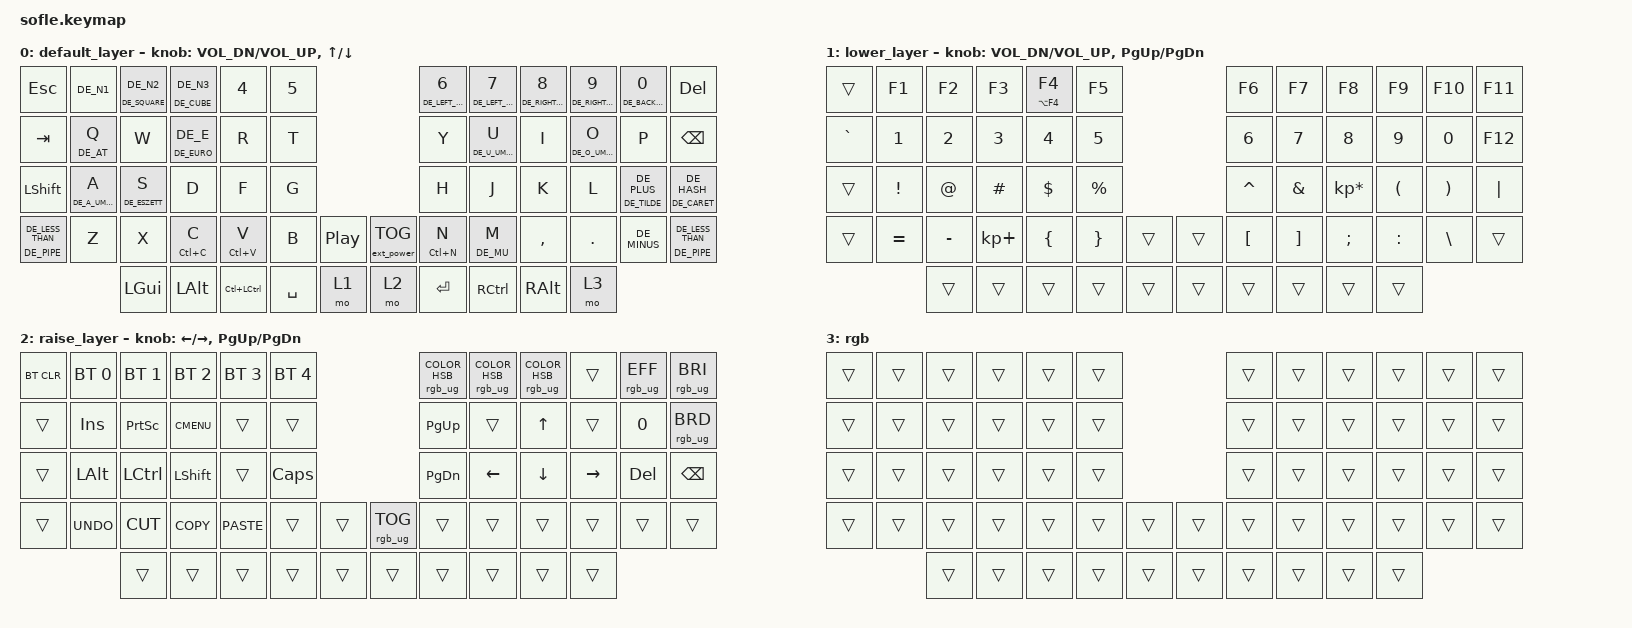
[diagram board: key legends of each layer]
/*
 * Copyright (c) 2020 The ZMK Contributors
 *
 * SPDX-License-Identifier: MIT
 */
/*
 * Temporarily here because nice nano v2 spi is not defined on ZMK Yet
 * Source: https://github.com/zmkfirmware/zmk/blob/main/app/boards/shields/reviung41/boards/nice_nano.overlay
 * GitHub Issue: https://github.com/zmkfirmware/zmk/issues/885
 */

#include <dt-bindings/led/led.h>
#include <behaviors.dtsi>
#include <dt-bindings/zmk/bt.h>
#include <dt-bindings/zmk/ext_power.h>
#include <dt-bindings/zmk/keys.h>
#include <dt-bindings/zmk/rgb.h>
#include "keys_de.h"

&pinctrl {
    spi3_default: spi3_default {
        group1 { psels = <NRF_PSEL(SPIM_MOSI, 0, 6)>; };
    };

    spi3_sleep: spi3_sleep {
        group1 {
            psels = <NRF_PSEL(SPIM_MOSI, 0, 6)>;
            low-power-enable;
        };
    };
};

&spi3 {
    compatible = "nordic,nrf-spim";
    status = "okay";
    pinctrl-0 = <&spi3_default>;
    pinctrl-1 = <&spi3_sleep>;
    pinctrl-names = "default", "sleep";

    led_strip: ws2812@0 {
        compatible = "worldsemi,ws2812-spi";
        label = "WS2812";

        /* SPI */

        reg = <0>; /* ignored, but necessary for SPI bindings */
        spi-max-frequency = <4000000>;

        /* WS2812 */

        chain-length = <30>;
        spi-one-frame = <0x70>;
        spi-zero-frame = <0x40>;
        color-mapping = <LED_COLOR_ID_GREEN LED_COLOR_ID_RED LED_COLOR_ID_BLUE>;
    };
};

/ {
    chosen { zmk,underglow = &led_strip; };
};

/* END temporary RGB support section */

/ {
    behaviors {
        longPress: longPress {
            compatible = "zmk,behavior-hold-tap";
            label = "LONGPRESS";
            bindings = <&kp>, <&kp>;

            #binding-cells = <2>;
            tapping-term-ms = <350>;
            flavor = "tap-preferred";
        };
    };

    keymap {
        compatible = "zmk,keymap";

        default_layer {
            // ------------------------------------------------------------------------------------------------------------------
            // |  `    |  1  |  2  |  3   |  4   |  5   |                         |  6   |  7    |  8    |  9   |   0   |       |
            // |  ESC  |  Q  |  W  |  E   |  R   |  T   |                         |  Y   |  U    |  I    |  O   |   P   | BKSPC |
            // |  TAB  |  A  |  S  |  D   |  F   |  G   |                         |  H   |  J    |  K    |  L   |   ;   |   '   |
            // | SHIFT |  Z  |  X  |  C   |  V   |  B   |  MUTE  |        | ExtPw |  N   |  M    |  ,    |  .   |   /   | SHIFT |
            //               | GUI | ALT  | CTRL | LOWER|  ENTER |        | SPACE | RAISE| CTRL  | ALT   | GUI  |

            bindings = <
&kp ESC                          &kp DE_N1                 &longPress DE_SQUARE DE_N2  &longPress DE_CUBE DE_N3  &kp N4              &kp N5                                            &longPress DE_LEFT_BRACE N6  &longPress DE_LEFT_BRACKET N7  &longPress DE_RIGHT_BRACKET N8  &longPress DE_RIGHT_BRACE N9  &longPress DE_BACKSLASH N0   &kp DEL
&kp TAB                          &longPress DE_AT Q        &kp W                       &longPress DE_EURO DE_E   &kp R               &kp T                                             &kp Y                        &longPress DE_U_UMLAUT U       &kp I                           &longPress DE_O_UMLAUT O      &kp P                        &kp BSPC
&kp LSHIFT                       &longPress DE_A_UMLAUT A  &longPress DE_ESZETT S      &kp D                     &kp F               &kp G                                             &kp H                        &kp J                          &kp K                           &kp L                         &longPress DE_TILDE DE_PLUS  &longPress DE_CARET DE_HASH
&longPress DE_PIPE DE_LESS_THAN  &kp Z                     &kp X                       &longPress LC(C) C        &longPress LC(V) V  &kp B      &kp C_PLAY_PAUSE    &ext_power EP_TOG  &longPress LC(N) N           &longPress DE_MU M             &kp COMMA                       &kp DOT                       &kp DE_MINUS                 &longPress DE_PIPE DE_LESS_THAN
                                                           &kp LGUI                    &kp LALT                  &kp LC(LCTRL)       &kp SPACE  &mo 1               &mo 2              &kp ENTER                    &kp RCTRL                      &kp RALT                        &mo 3
            >;

            sensor-bindings =
                <&inc_dec_kp C_VOL_DN C_VOL_UP>,
                <&inc_dec_kp UP_ARROW DOWN>;
        };

        lower_layer {
            // TODO: Some binds are waiting for shifted keycode support.
            // ------------------------------------------------------------------------------------------------------------
            // |       |  F1 |  F2 |  F3  |  F4  |  F5  |                   |  F6  |  F7   |  F8   |  F9  |  F10  |  F11  |
            // | `     |   1 |   2 |   3  |   4  |   5  |                   |   6  |   7   |   8   |   9  |    0  |  F12  |
            // |       |  !  |  @  |  #   |  $   |  %   |                   |  ^   |  &    |  *    |  (   |   )   |   |   |
            // |       |  =  |  -  |  +   |  {   |  }   |        |  |       |  [   |  ]    |  ;    |  :   |   \   |       |
            //               |     |      |      |      |        |  |       |      |       |       |      |

            bindings = <
&trans     &kp F1     &kp F2     &kp F3       &longPress LA(F4) F4  &kp F5                       &kp F6     &kp F7    &kp F8           &kp F9     &kp F10   &kp F11
&kp GRAVE  &kp N1     &kp N2     &kp N3       &kp N4                &kp N5                       &kp N6     &kp N7    &kp N8           &kp N9     &kp N0    &kp F12
&trans     &kp EXCL   &kp AT     &kp HASH     &kp DLLR              &kp PRCNT                    &kp CARET  &kp AMPS  &kp KP_MULTIPLY  &kp LPAR   &kp RPAR  &kp PIPE
&trans     &kp EQUAL  &kp MINUS  &kp KP_PLUS  &kp LBRC              &kp RBRC   &trans    &trans  &kp LBKT   &kp RBKT  &kp SEMI         &kp COLON  &kp BSLH  &trans
                      &trans     &trans       &trans                &trans     &trans    &trans  &trans     &trans    &trans           &trans
            >;

            sensor-bindings =
                <&inc_dec_kp C_VOL_DN C_VOLUME_UP>,
                <&inc_dec_kp PG_UP PG_DN>;
        };

        raise_layer {
            // ------------------------------------------------------------------------------------------------------------
            // |BTCLR| BT1  | BT2  |  BT3  |  BT4  |  BT5 |                 |      |      |       |      |       |       |
            // |     | INS  | PSCR | GUI   |       |      |                 | PGUP |      |   ^   |      |       |       |
            // |     | ALT  | CTRL | SHIFT |       | CAPS |                 | PGDN |   <- |   v   |  ->  |  DEL  | BKSPC |
            // |     | UNDO | CUT  | COPY  | PASTE |      |      |   | RGB  |      |      |       |      |       |       |
            //              |      |       |       |      |      |   |      |      |      |       |      |

            bindings = <
&bt BT_CLR  &bt BT_SEL 0  &bt BT_SEL 1  &bt BT_SEL 2  &bt BT_SEL 3  &bt BT_SEL 4                             &rgb_ug RGB_COLOR_HSB(278,100,50)  &rgb_ug RGB_COLOR_HSB(170,100,50)  &rgb_ug RGB_COLOR_HSB(0,0,100)  &trans     &rgb_ug RGB_EFF  &rgb_ug RGB_BRI
&trans      &kp INS       &kp PSCRN     &kp K_CMENU   &trans        &trans                                   &kp PG_UP                          &trans                             &kp UP                          &trans     &kp N0           &rgb_ug RGB_BRD
&trans      &kp LALT      &kp LCTRL     &kp LSHFT     &trans        &kp CLCK                                 &kp PG_DN                          &kp LEFT                           &kp DOWN                        &kp RIGHT  &kp DEL          &kp BSPC
&trans      &kp K_UNDO    &kp K_CUT     &kp K_COPY    &kp K_PASTE   &trans        &trans    &rgb_ug RGB_TOG  &trans                             &trans                             &trans                          &trans     &trans           &trans
                          &trans        &trans        &trans        &trans        &trans    &trans           &trans                             &trans                             &trans                          &trans
            >;

            sensor-bindings =
                <&inc_dec_kp LEFT RIGHT>,
                <&inc_dec_kp PG_UP PG_DN>;
        };

        rgb {
            bindings = <
&trans  &trans  &trans  &trans  &trans  &trans                    &trans  &trans  &trans  &trans  &trans  &trans
&trans  &trans  &trans  &trans  &trans  &trans                    &trans  &trans  &trans  &trans  &trans  &trans
&trans  &trans  &trans  &trans  &trans  &trans                    &trans  &trans  &trans  &trans  &trans  &trans
&trans  &trans  &trans  &trans  &trans  &trans  &trans    &trans  &trans  &trans  &trans  &trans  &trans  &trans
                &trans  &trans  &trans  &trans  &trans    &trans  &trans  &trans  &trans  &trans
            >;
        };
    };
};
